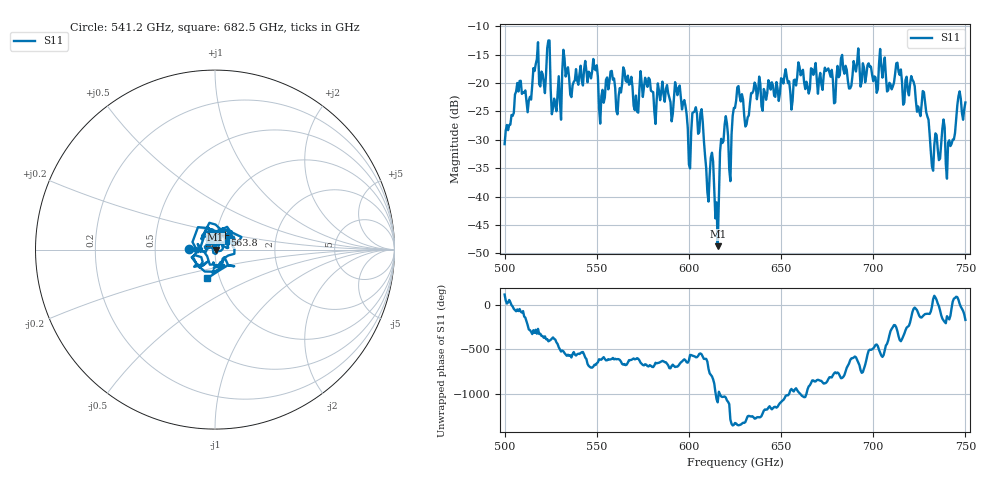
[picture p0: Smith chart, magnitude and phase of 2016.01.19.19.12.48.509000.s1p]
!Created with skrf (http://scikit-rf.org).
# GHz S RI R 50.0
!freq ReS11 ImS11
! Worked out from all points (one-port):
!   401 points, 500 GHz to 750 GHz, reference 50 ohm
!   lowest |S11| = -48.7 dB at 615.6 GHz (marker M1), VSWR 1.01, Z = 50.4 - j0.0957 ohm
!   |S11| at or under -10 dB: start of sweep to end of sweep
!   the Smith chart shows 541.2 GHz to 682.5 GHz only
!   S11 on the Smith chart (normalised r, x): 541.2 GHz: 0.75, +0.01; 563.8 GHz: 1.10, +0.18; 682.5 GHz: 0.87, -0.29
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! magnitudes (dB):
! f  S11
! 500 GHz  -30.8
! 507.5 GHz  -21.5
! 513.1 GHz  -23.1
! 516.9 GHz  -16.7
! 523.8 GHz  -12.5
! 526.9 GHz  -22.7
! 531.2 GHz  -18.1
! 541.2 GHz  -16.9
! 562.5 GHz  -20.9
! 563.8 GHz  -20.2
! 571.2 GHz  -22.2
! 593.8 GHz  -22.1
! 600 GHz  -34.3
! 606.9 GHz  -24.6
! 610 GHz  -39.2
! 615.6 GHz  -48.7
! 618.8 GHz  -30.2
! 622.5 GHz  -37.3
! 625 GHz  -24.4
! 656.2 GHz  -23.1
! 682.5 GHz  -15.6
! 687.5 GHz  -20.9
! 718.8 GHz  -21.4
! 728.1 GHz  -23.4
! 731.9 GHz  -34.7
! 740.6 GHz  -30.5
! 746.2 GHz  -22.3
! 750 GHz  -23.4
